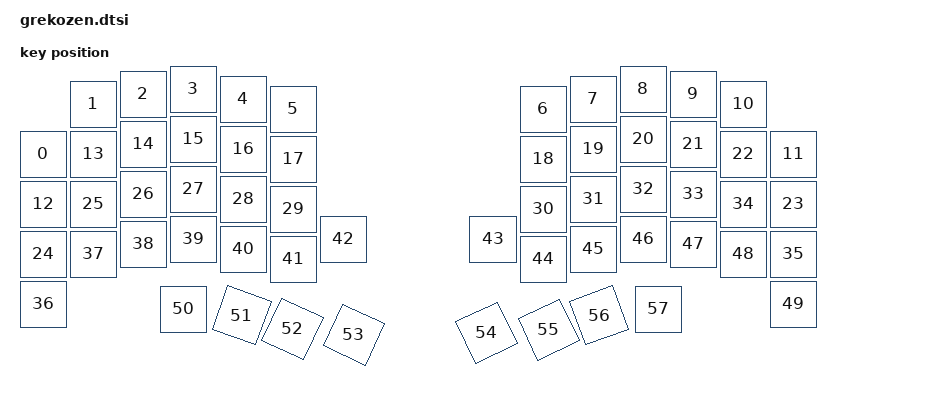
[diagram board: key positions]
#include "physical_layouts.dtsi"

/ {
    grekozen_layout: grekozen_layout {
        compatible = "zmk,physical-layout";
        display-name = "Grekozen";
        keys  //                     w   h    x    y     rot    rx    ry
            /* Row 0 */
            = <&key_physical_attrs 100 100    0  130       0     0     0>
            , <&key_physical_attrs 100 100  100   30       0     0     0>
            , <&key_physical_attrs 100 100  200   10       0     0     0>
            , <&key_physical_attrs 100 100  300    0       0     0     0>
            , <&key_physical_attrs 100 100  400   20       0     0     0>
            , <&key_physical_attrs 100 100  500   40       0     0     0>
            , <&key_physical_attrs 100 100 1000   40       0     0     0>
            , <&key_physical_attrs 100 100 1100   20       0     0     0>
            , <&key_physical_attrs 100 100 1200    0       0     0     0>
            , <&key_physical_attrs 100 100 1300   10       0     0     0>
            , <&key_physical_attrs 100 100 1400   30       0     0     0>
            , <&key_physical_attrs 100 100 1500  130       0     0     0>
            /* Row 1 */
            , <&key_physical_attrs 100 100    0  230       0     0     0>
            , <&key_physical_attrs 100 100  100  130       0     0     0>
            , <&key_physical_attrs 100 100  200  110       0     0     0>
            , <&key_physical_attrs 100 100  300  100       0     0     0>
            , <&key_physical_attrs 100 100  400  120       0     0     0>
            , <&key_physical_attrs 100 100  500  140       0     0     0>
            , <&key_physical_attrs 100 100 1000  140       0     0     0>
            , <&key_physical_attrs 100 100 1100  120       0     0     0>
            , <&key_physical_attrs 100 100 1200  100       0     0     0>
            , <&key_physical_attrs 100 100 1300  110       0     0     0>
            , <&key_physical_attrs 100 100 1400  130       0     0     0>
            , <&key_physical_attrs 100 100 1500  230       0     0     0>
            /* Row 2 */
            , <&key_physical_attrs 100 100    0  330       0     0     0>
            , <&key_physical_attrs 100 100  100  230       0     0     0>
            , <&key_physical_attrs 100 100  200  210       0     0     0>
            , <&key_physical_attrs 100 100  300  200       0     0     0>
            , <&key_physical_attrs 100 100  400  220       0     0     0>
            , <&key_physical_attrs 100 100  500  240       0     0     0>
            , <&key_physical_attrs 100 100 1000  240       0     0     0>
            , <&key_physical_attrs 100 100 1100  220       0     0     0>
            , <&key_physical_attrs 100 100 1200  200       0     0     0>
            , <&key_physical_attrs 100 100 1300  210       0     0     0>
            , <&key_physical_attrs 100 100 1400  230       0     0     0>
            , <&key_physical_attrs 100 100 1500  330       0     0     0>
            /* Row 3 (includes inner col6/col7 extra keys) */
            , <&key_physical_attrs 100 100    0  430       0     0     0>
            , <&key_physical_attrs 100 100  100  330       0     0     0>
            , <&key_physical_attrs 100 100  200  310       0     0     0>
            , <&key_physical_attrs 100 100  300  300       0     0     0>
            , <&key_physical_attrs 100 100  400  320       0     0     0>
            , <&key_physical_attrs 100 100  500  340       0     0     0>
            , <&key_physical_attrs 100 100  600  300       0     0     0>
            , <&key_physical_attrs 100 100  900  300       0     0     0>
            , <&key_physical_attrs 100 100 1000  340       0     0     0>
            , <&key_physical_attrs 100 100 1100  320       0     0     0>
            , <&key_physical_attrs 100 100 1200  300       0     0     0>
            , <&key_physical_attrs 100 100 1300  310       0     0     0>
            , <&key_physical_attrs 100 100 1400  330       0     0     0>
            , <&key_physical_attrs 100 100 1500  430       0     0     0>
            /* Row 4 (thumb cluster + macropad extension) */
            , <&key_physical_attrs 100 100  280  440       0     0     0>
            , <&key_physical_attrs 100 100  405  470    2000   500   490>
            , <&key_physical_attrs 100 100  530  540    2500   700   490>
            , <&key_physical_attrs 100 100  660  540    2500   800   480>
            , <&key_physical_attrs 100 100  850  540  (-2500)  800   480>
            , <&key_physical_attrs 100 100  960  630  (-2500)  700   490>
            , <&key_physical_attrs 100 100 1080  610  (-2000)  700   490>
            , <&key_physical_attrs 100 100 1230  440       0     0     0>
        ;
    };

    grekozen_position_map: grekozen_position_map {
        compatible = "zmk,physical-layout-position-map";
        complete;

        grekozen_posmap: grekozen {
            physical-layout = <&grekozen_layout>;
            positions
                = < 0  1  2  3  4  5           6  7  8  9 10 11>
                , <12 13 14 15 16 17          18 19 20 21 22 23>
                , <24 25 26 27 28 29          30 31 32 33 34 35>
                , <36 37 38 39 40 41 42 43    44 45 46 47 48 49>
                , <               50 51 52 53 54 55 56 57      >;
        };
    };
};
